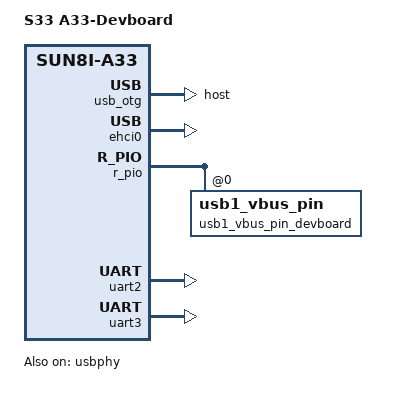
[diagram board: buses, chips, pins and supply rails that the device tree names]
/*
 * Copyright(C) 2016 STcube Inc.,
 * All right reserved by Seungwoo Kim <ksw@stcube.com>
 *
 * Copyright 2015 Hans de Goede <hdegoede@redhat.com>
 *
 * This file is dual-licensed: you can use it either under the terms
 * of the GPL or the X11 license, at your option. Note that this dual
 * licensing only applies to this file, and not this project as a
 * whole.
 *
 *  a) This file is free software; you can redistribute it and/or
 *     modify it under the terms of the GNU General Public License as
 *     published by the Free Software Foundation; either version 2 of the
 *     License, or (at your option) any later version.
 *
 *     This file is distributed in the hope that it will be useful,
 *     but WITHOUT ANY WARRANTY; without even the implied warranty of
 *     MERCHANTABILITY or FITNESS FOR A PARTICULAR PURPOSE.  See the
 *     GNU General Public License for more details.
 *
 * Or, alternatively,
 *
 *  b) Permission is hereby granted, free of charge, to any person
 *     obtaining a copy of this software and associated documentation
 *     files (the "Software"), to deal in the Software without
 *     restriction, including without limitation the rights to use,
 *     copy, modify, merge, publish, distribute, sublicense, and/or
 *     sell copies of the Software, and to permit persons to whom the
 *     Software is furnished to do so, subject to the following
 *     conditions:
 *
 *     The above copyright notice and this permission notice shall be
 *     included in all copies or substantial portions of the Software.
 *
 *     THE SOFTWARE IS PROVIDED "AS IS", WITHOUT WARRANTY OF ANY KIND,
 *     EXPRESS OR IMPLIED, INCLUDING BUT NOT LIMITED TO THE WARRANTIES
 *     OF MERCHANTABILITY, FITNESS FOR A PARTICULAR PURPOSE AND
 *     NONINFRINGEMENT. IN NO EVENT SHALL THE AUTHORS OR COPYRIGHT
 *     HOLDERS BE LIABLE FOR ANY CLAIM, DAMAGES OR OTHER LIABILITY,
 *     WHETHER IN AN ACTION OF CONTRACT, TORT OR OTHERWISE, ARISING
 *     FROM, OUT OF OR IN CONNECTION WITH THE SOFTWARE OR THE USE OR
 *     OTHER DEALINGS IN THE SOFTWARE.
 */

/dts-v1/;
#include "sun8i-a33.dtsi"
#include "sun8i-q8-common.dtsi"

/ {
	model = "S33 A33-Devboard";
	compatible = "allwinner,q8-a33", "allwinner,sun8i-a33";
	aliases {
		serial0 = &uart0;
		serial1 = &uart1;
		serail2 = &uart2;          
		serial3 = &uart3;
		serial4 = &r_uart;
	};

	chosen {
		stdout-path = "serial4:115200n8";
	};
};

/*
 * FIXME for now we only support host mode and rely on u-boot to have
 * turned on Vbus which is controlled by the axp223 pmic on the board.
 *
 * Once we have axp223 support we should switch to fully supporting otg.
 */

&usb_otg {
	dr_mode = "host";
	status = "okay";
};

&reg_usb1_vbus {
	pinctrl-0 = <&usb1_vbus_pin_devboard>;
	gpio = <&r_pio 0 5 GPIO_ACTIVE_HIGH>;
	status = "okay";
};

&usbphy {
	usb1_vbus-supply = <&reg_usb1_vbus>;
	status = "okay";
};

&ehci0 {
	status = "okay";
};

&r_pio {
	usb1_vbus_pin_devboard: usb1_vbus_pin@0 {
		allwinner,pins = "PL5";
		allwinner,function = "gpio_out";
		allwinner,drive = <SUN4I_PINCTRL_10_MA>;
		allwinner,pull = <SUN4I_PINCTRL_NO_PULL>;
	};
};
/*
 ksw : This configuration can be enable uarts for test.
 		2016.05.06
 */

&uart2 {
	status = "okay";
};

&uart3 {
	status = "okay";
};

